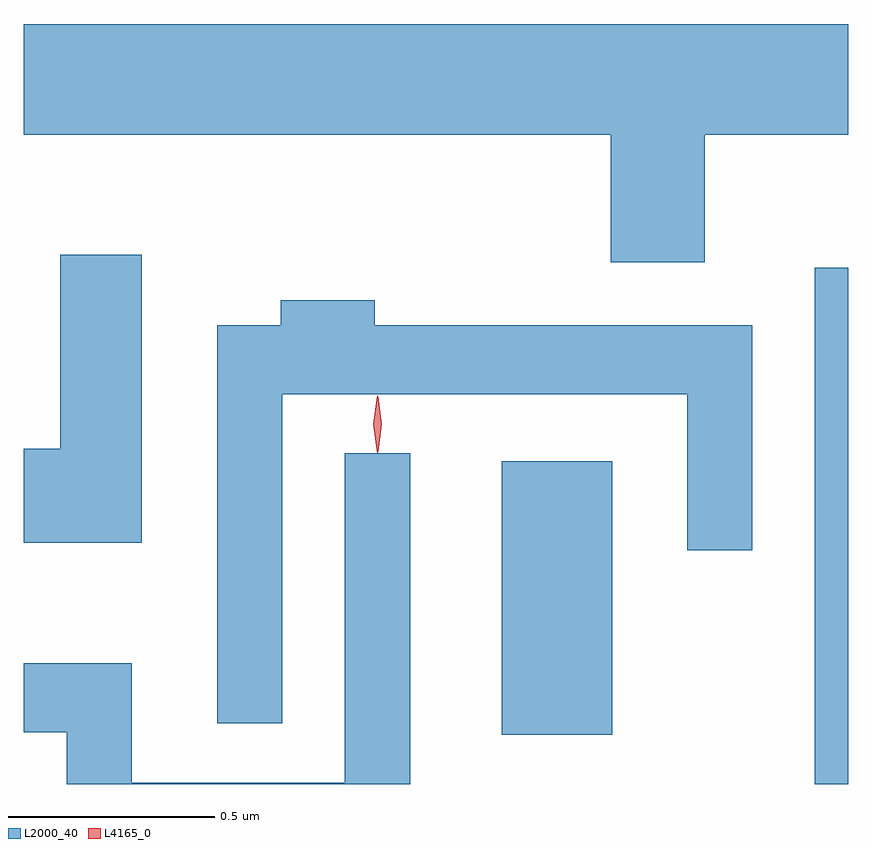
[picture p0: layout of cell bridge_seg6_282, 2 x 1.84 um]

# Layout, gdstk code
import gdstk
lib = gdstk.Library(unit=1e-6, precision=1e-09)
def R(c, l, rs):  # rectangles x0, y0, x1, y1
    for r in rs: c.add(gdstk.rectangle(r[:2], r[2:], *l))
def P(c, l, *ps):  # polygons
    for p in ps: c.add(gdstk.Polygon(p, *l))
L2000_40 = (2000, 40)
L4165_0 = (4165, 0)

bridge_seg6_282 = lib.new_cell('bridge_seg6_282')
R(bridge_seg6_282, L2000_40, [(1291.606,1555.121,1291.687,1556.373), (1290.846,1555.241,1291.114,1555.904)])
P(bridge_seg6_282, L2000_40, [(1291.339,1556.696),(1291.687,1556.696),(1291.687,1556.964),(1289.687,1556.964),(1289.687,1556.696),(1291.111,1556.696),(1291.111,1556.386),(1291.339,1556.386)],
  [(1289.974,1556.404),(1289.776,1556.404),(1289.776,1555.934),(1289.687,1555.934),(1289.687,1555.706),(1289.974,1555.706)],
  [(1290.314,1556.066),(1291.296,1556.066),(1291.296,1555.688),(1291.454,1555.688),(1291.454,1556.234),(1290.539,1556.234),(1290.539,1556.294),(1290.311,1556.294),(1290.311,1556.234),(1290.156,1556.234),(1290.156,1555.268),(1290.314,1555.268)],
  [(1290.624,1555.923),(1290.466,1555.923),(1290.466,1555.124),(1289.949,1555.124),(1289.949,1555.414),(1289.687,1555.414),(1289.687,1555.246),(1289.791,1555.246),(1289.791,1555.121),(1290.624,1555.121)])
P(bridge_seg6_282, L4165_0, [(1290.546,1555.927),(1290.546,1555.927),(1290.536,1555.994),(1290.546,1556.06),(1290.546,1556.061),(1290.547,1556.06),(1290.556,1555.994),(1290.547,1555.927)],
  [(1290.545,1555.924),(1290.545,1555.924),(1290.535,1555.993),(1290.545,1556.063),(1290.545,1556.063),(1290.546,1556.063),(1290.555,1555.993),(1290.546,1555.924)])

lib.write_gds('bridge_seg6_282.gds')
